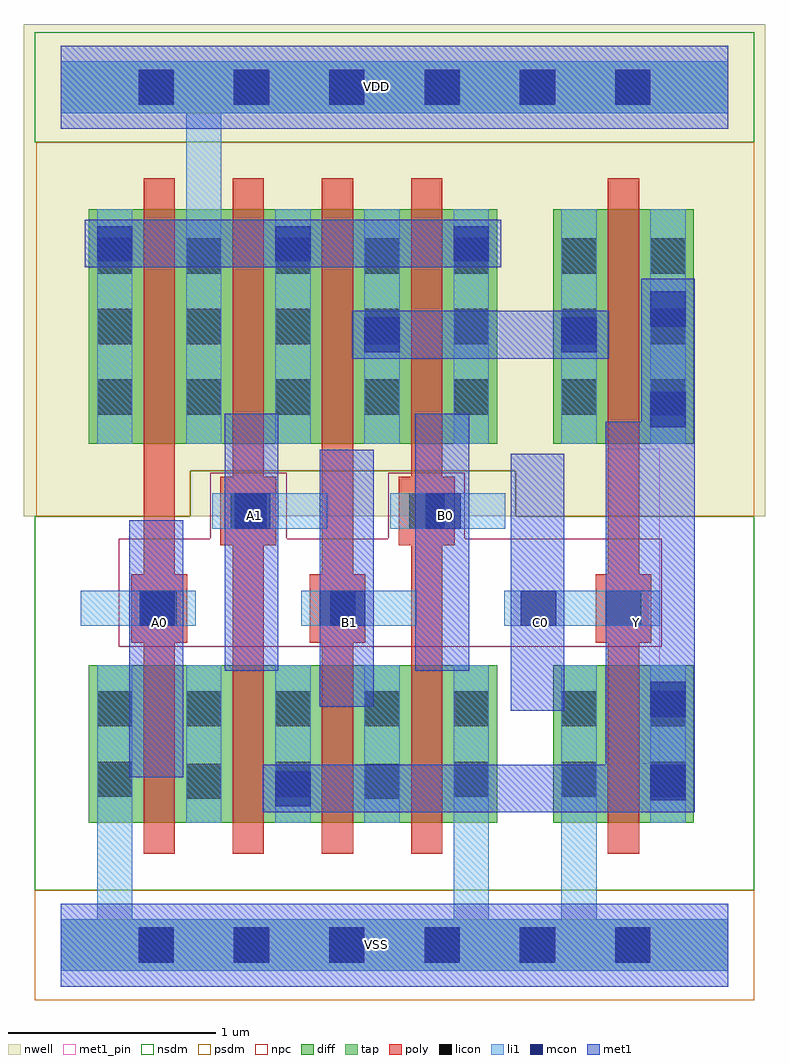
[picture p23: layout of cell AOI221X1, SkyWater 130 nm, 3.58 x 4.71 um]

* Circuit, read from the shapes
.subckt AOI221X1 A0 A1 B0 B1 C0 VDD VSS Y
XM1 n1 A0 VSS VSS sky130_fd_pr__nfet_01v8 w=0.76 l=0.15
XM2 Y A1 n1 VSS sky130_fd_pr__nfet_01v8 w=0.76 l=0.15
XM3 n2 B1 Y VSS sky130_fd_pr__nfet_01v8 w=0.76 l=0.15
XM4 VSS B0 n2 VSS sky130_fd_pr__nfet_01v8 w=0.76 l=0.15
XM5 Y C0 VSS VSS sky130_fd_pr__nfet_01v8 w=0.76 l=0.15
XM6 VDD A0 n3 VDD sky130_fd_pr__pfet_01v8 w=1.13 l=0.15
XM7 n3 A1 VDD VDD sky130_fd_pr__pfet_01v8 w=1.13 l=0.15
XM8 n4 B1 n3 VDD sky130_fd_pr__pfet_01v8 w=1.13 l=0.15
XM9 n3 B0 n4 VDD sky130_fd_pr__pfet_01v8 w=1.13 l=0.15
XM10 Y C0 n4 VDD sky130_fd_pr__pfet_01v8 w=1.13 l=0.15
.ends

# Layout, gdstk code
from math import pi, radians
import gdstk
lib = gdstk.Library(unit=1e-6, precision=1e-09)
def R(c, l, rs):  # rectangles x0, y0, x1, y1
    for r in rs: c.add(gdstk.rectangle(r[:2], r[2:], *l))
def A(c, l, x, y, w, h, nx, ny, dx, dy):  # array of equal rectangles
    R(c, l, [(x+i*dx, y+j*dy, x+i*dx+w, y+j*dy+h) for i in range(nx) for j in range(ny)])
def P(c, l, *ps):  # polygons
    for p in ps: c.add(gdstk.Polygon(p, *l))
nwell = (64, 20)
diff = (65, 20)
tap = (65, 44)
poly = (66, 20)
licon = (66, 44)
li1 = (67, 20)
mcon = (67, 44)
met1_pin = (68, 16)
met1 = (68, 20)
nsdm = (93, 44)
psdm = (94, 20)
npc = (95, 20)

pyl1con_c_cdns_751554744 = lib.new_cell('PYL1CON_C_CDNS_751554744751')
R(pyl1con_c_cdns_751554744, poly, [(-0.135,-0.165,0.135,0.165)])
R(pyl1con_c_cdns_751554744, licon, [(-0.085,-0.085,0.085,0.085)])
R(pyl1con_c_cdns_751554744, npc, [(-0.185,-0.185,0.185,0.185)])

l1m1_c_cdns_751554744750 = lib.new_cell('L1M1_C_CDNS_751554744750$$8')
R(l1m1_c_cdns_751554744750, li1, [(-0.085,-0.165,0.085,0.165)])
R(l1m1_c_cdns_751554744750, mcon, [(-0.085,-0.085,0.085,0.085)])
R(l1m1_c_cdns_751554744750, met1, [(-0.115,-0.145,0.115,0.145)])

c_l1m1_c_cdns_751554744750 = lib.new_cell('L1M1_C_CDNS_751554744750$$9')
R(c_l1m1_c_cdns_751554744750, li1, [(-0.165,-0.085,0.165,0.085)])
R(c_l1m1_c_cdns_751554744750, mcon, [(-0.085,-0.085,0.085,0.085)])
R(c_l1m1_c_cdns_751554744750, met1, [(-0.115,-0.145,0.115,0.145)])

aoi221x1 = lib.new_cell('AOI221X1')
R(aoi221x1, nwell, [(-0.18,2.07,3.4,4.445)])
R(aoi221x1, diff, [(0.135,0.59,2.105,1.35), (2.375,0.59,3.055,1.35), (0.135,2.42,2.105,3.55), (2.375,2.42,3.055,3.55)])
A(aoi221x1, poly, 0.4, 0.44, 0.15, 3.26, 4, 1, 0.43, 0)
R(aoi221x1, poly, [(2.64,0.44,2.79,3.7)])
A(aoi221x1, licon, 0.375, -0.085, 0.17, 0.17, 6, 2, 0.46, 4.14)
A(aoi221x1, licon, 0.175, 0.715, 0.17, 0.17, 3, 1, 0.86, 0)
A(aoi221x1, licon, 0.175, 1.055, 0.17, 0.17, 5, 2, 0.43, 1.505)
A(aoi221x1, licon, 2.415, 2.56, 0.17, 0.17, 1, 3, 0, 0.34)
A(aoi221x1, licon, 2.845, 2.56, 0.17, 0.17, 1, 3, 0, 0.34)
A(aoi221x1, licon, 0.175, 2.9, 0.17, 0.17, 5, 2, 0.43, 0.34)
R(aoi221x1, licon, [(0.605,0.705,0.775,0.875), (1.465,0.705,1.635,0.875), (2.415,0.715,2.585,0.885), (2.845,0.715,3.015,0.885), (2.415,1.055,2.585,1.225), (2.845,1.055,3.015,1.225)])
A(aoi221x1, li1, 1.035, 2.42, 0.17, 1.13, 3, 1, 0.43, 0)
R(aoi221x1, li1, [(1.035,0.59,1.205,1.35), (2.845,0.59,3.015,1.35), (0.175,2.42,0.345,3.55), (2.415,2.42,2.585,3.55), (2.845,2.42,3.015,3.55)])
P(aoi221x1, li1, [(3.22,4.265),(0,4.265),(0,4.015),(0.605,4.015),(0.605,2.42),(0.775,2.42),(0.775,4.015),(3.22,4.015)],
  [(3.22,0.125),(2.585,0.125),(2.585,1.35),(2.415,1.35),(2.415,0.125),(2.065,0.125),(2.065,1.35),(1.895,1.35),(1.895,0.125),(0.345,0.125),(0.345,1.35),(0.175,1.35),(0.175,0.125),(0,0.125),(0,-0.125),(3.22,-0.125)])
A(aoi221x1, mcon, 0.375, -0.085, 0.17, 0.17, 6, 2, 0.46, 4.14)
R(aoi221x1, met1_pin, [(0.33,0.81,0.59,2.05), (2.63,0.875,2.89,2.395), (2.17,1.13,2.43,2.37), (1.25,1.15,1.51,2.39), (0.79,1.325,1.05,2.565), (1.71,1.325,1.97,2.565)])
P(aoi221x1, met1, [(3.06,3.215),(2.8,3.215),(2.8,2.525),(2.63,2.525),(2.63,0.87),(0.975,0.87),(0.975,0.64),(3.06,0.64)])
R(aoi221x1, nsdm, [(-0.125,3.875,3.345,4.405)])
P(aoi221x1, nsdm, [(3.345,2.07),(2.195,2.07),(2.195,2.29),(0.625,2.29),(0.625,2.07),(-0.125,2.07),(-0.125,0.265),(3.345,0.265)])
R(aoi221x1, psdm, [(-0.125,-0.265,3.345,0.265)])
P(aoi221x1, psdm, [(3.345,3.875),(-0.12,3.875),(-0.12,2.07),(0.625,2.07),(0.625,2.29),(2.195,2.29),(2.195,2.07),(3.345,2.07)])
R(aoi221x1, npc, [(0.28,1.44,2.9,1.96)])
aoi221x1.add(gdstk.FlexPath([(1.285,2.095),(0.73,2.095)], 0.17, ends="flush", simple_path=True, layer=67, datatype=20))  # li1
aoi221x1.add(gdstk.FlexPath([(1.715,1.625),(1.16,1.625)], 0.17, ends="flush", simple_path=True, layer=67, datatype=20))  # li1
aoi221x1.add(gdstk.FlexPath([(0.69,1.35),(0.69,0.59)], 0.17, ends="flush", simple_path=True, layer=67, datatype=20))  # li1
aoi221x1.add(gdstk.FlexPath([(1.55,1.35),(1.55,0.59)], 0.17, ends="flush", simple_path=True, layer=67, datatype=20))  # li1
aoi221x1.add(gdstk.FlexPath([(0.095,1.625),(0.65,1.625)], 0.17, ends="flush", simple_path=True, layer=67, datatype=20))  # li1
aoi221x1.add(gdstk.FlexPath([(2.335,1.625),(2.89,1.625)], 0.17, ends="flush", simple_path=True, layer=67, datatype=20))  # li1
aoi221x1.add(gdstk.FlexPath([(2.145,2.095),(1.59,2.095)], 0.17, ends="flush", simple_path=True, layer=67, datatype=20))  # li1
aoi221x1.add(gdstk.FlexPath([(0,4.14),(3.22,4.14)], 0.25, ends="flush", simple_path=True, layer=65, datatype=44))  # tap
aoi221x1.add(gdstk.FlexPath([(0,0),(3.22,0)], 0.25, ends="flush", simple_path=True, layer=65, datatype=44))  # tap
aoi221x1.add(gdstk.FlexPath([(0.46,0.81),(0.46,2.05)], 0.26, ends="flush", simple_path=True, layer=68, datatype=20))  # met1
aoi221x1.add(gdstk.FlexPath([(1.38,1.15),(1.38,2.39)], 0.26, ends="flush", simple_path=True, layer=68, datatype=20))  # met1
aoi221x1.add(gdstk.FlexPath([(0.115,3.385),(2.125,3.385)], 0.23, ends="flush", simple_path=True, layer=68, datatype=20))  # met1
aoi221x1.add(gdstk.FlexPath([(1.405,2.945),(2.645,2.945)], 0.23, ends="flush", simple_path=True, layer=68, datatype=20))  # met1
aoi221x1.add(gdstk.FlexPath([(1.84,1.325),(1.84,2.565)], 0.26, ends="flush", simple_path=True, layer=68, datatype=20))  # met1
aoi221x1.add(gdstk.FlexPath([(0.92,1.325),(0.92,2.565)], 0.26, ends="flush", simple_path=True, layer=68, datatype=20))  # met1
aoi221x1.add(gdstk.FlexPath([(2.3,1.13),(2.3,2.37)], 0.26, ends="flush", simple_path=True, layer=68, datatype=20))  # met1
aoi221x1.add(gdstk.FlexPath([(0,4.14),(3.22,4.14)], 0.4, ends="flush", simple_path=True, layer=68, datatype=20))  # met1
aoi221x1.add(gdstk.FlexPath([(0,0),(3.22,0)], 0.4, ends="flush", simple_path=True, layer=68, datatype=20))  # met1
aoi221x1.add(gdstk.FlexPath([(0,0),(3.22,0)], 0.4, ends="flush", simple_path=True, layer=68, datatype=16))  # met1_pin
aoi221x1.add(gdstk.FlexPath([(0,4.14),(3.22,4.14)], 0.4, ends="flush", simple_path=True, layer=68, datatype=16))  # met1_pin
aoi221x1.add(gdstk.Reference(pyl1con_c_cdns_751554744, (2.715,1.625)))
aoi221x1.add(gdstk.Reference(pyl1con_c_cdns_751554744, (0.475,1.625)))
aoi221x1.add(gdstk.Reference(pyl1con_c_cdns_751554744, (1.335,1.625)))
aoi221x1.add(gdstk.Reference(pyl1con_c_cdns_751554744, (0.905,2.095)))
aoi221x1.add(gdstk.Reference(pyl1con_c_cdns_751554744, (1.765,2.095)))
aoi221x1.add(gdstk.Reference(l1m1_c_cdns_751554744750, (2.93,2.585)))
aoi221x1.add(gdstk.Reference(l1m1_c_cdns_751554744750, (2.93,0.785)))
aoi221x1.add(gdstk.Reference(l1m1_c_cdns_751554744750, (2.93,1.185)))
aoi221x1.add(gdstk.Reference(l1m1_c_cdns_751554744750, (2.93,3.07)))
aoi221x1.add(gdstk.Reference(c_l1m1_c_cdns_751554744750, (0.465,1.625), x_reflection=True))
aoi221x1.add(gdstk.Reference(c_l1m1_c_cdns_751554744750, (2.5,2.945), rotation=pi/2))
aoi221x1.add(gdstk.Reference(c_l1m1_c_cdns_751554744750, (0.26,3.385), rotation=pi/2))
aoi221x1.add(gdstk.Reference(c_l1m1_c_cdns_751554744750, (1.12,3.385), rotation=pi/2))
aoi221x1.add(gdstk.Reference(c_l1m1_c_cdns_751554744750, (1.98,3.385), rotation=pi/2))
aoi221x1.add(gdstk.Reference(c_l1m1_c_cdns_751554744750, (1.55,2.945), rotation=pi/2))
aoi221x1.add(gdstk.Reference(c_l1m1_c_cdns_751554744750, (1.12,0.755), rotation=pi/2))
aoi221x1.add(gdstk.Reference(c_l1m1_c_cdns_751554744750, (0.925,2.095), x_reflection=True))
aoi221x1.add(gdstk.Reference(c_l1m1_c_cdns_751554744750, (1.385,1.625), x_reflection=True))
aoi221x1.add(gdstk.Reference(c_l1m1_c_cdns_751554744750, (1.845,2.095), x_reflection=True))
aoi221x1.add(gdstk.Reference(c_l1m1_c_cdns_751554744750, (2.305,1.625), x_reflection=True))
aoi221x1.add(gdstk.Label('A1', (0.935,2.075), layer=68, texttype=5))
aoi221x1.add(gdstk.Label('A0', (0.475,1.555), layer=68, texttype=5))
aoi221x1.add(gdstk.Label('Y', (2.78,1.555), layer=68, texttype=5))
aoi221x1.add(gdstk.Label('B1', (1.395,1.555), layer=68, texttype=5))
aoi221x1.add(gdstk.Label('C0', (2.315,1.555), layer=68, texttype=5))
aoi221x1.add(gdstk.Label('B0', (1.855,2.075), layer=68, texttype=5))
aoi221x1.add(gdstk.Label('VDD', (1.525,4.145), layer=68, texttype=5))
aoi221x1.add(gdstk.Label('VSS', (1.525,0.005), layer=68, texttype=5))

lib.write_gds('AOI221X1.gds')
